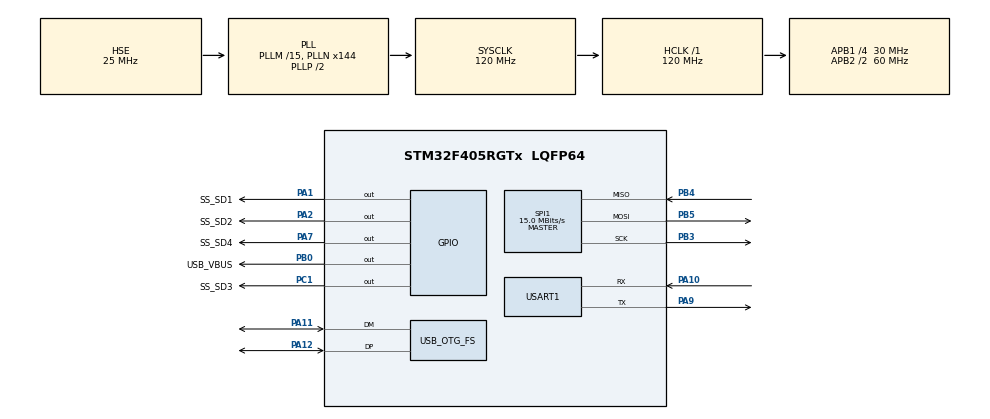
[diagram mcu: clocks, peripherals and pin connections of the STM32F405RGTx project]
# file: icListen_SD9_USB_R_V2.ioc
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Dma.Request0=SPI1_TX
Dma.SPI1_TX.0.Direction=DMA_MEMORY_TO_PERIPH
Dma.SPI1_TX.0.FIFOMode=DMA_FIFOMODE_DISABLE
Dma.SPI1_TX.0.Instance=DMA2_Stream3
Dma.SPI1_TX.0.MemDataAlignment=DMA_MDATAALIGN_BYTE
Dma.SPI1_TX.0.MemInc=DMA_MINC_ENABLE
Dma.SPI1_TX.0.Mode=DMA_NORMAL
Dma.SPI1_TX.0.PeriphDataAlignment=DMA_PDATAALIGN_BYTE
Dma.SPI1_TX.0.PeriphInc=DMA_PINC_DISABLE
Dma.SPI1_TX.0.Priority=DMA_PRIORITY_MEDIUM
FREERTOS.Queues01=AppliEvent,16,uint16_t,0,Dynamic,NULL,NULL;USB_rx,10,uint32_t,0,Dynamic,NULL,NULL;USB_tx,10,uint32_t,0,Dynamic,NULL,NULL;storage_w,5,uint32_t,0,Dynamic,NULL,NULL
FREERTOS.Tasks01=defaultTask,0,256,StartDefaultTask,Default,NULL,Dynamic,NULL,NULL;storage_t,0,512,storage_f,Default,NULL,Dynamic,NULL,NULL;icListen_t,0,512,icListen_f,Default,NULL,Dynamic,NULL,NULL;uart_t,0,256,uart_f,Default,NULL,Dynamic,NULL,NULL
FREERTOS.configTOTAL_HEAP_SIZE=24000
FREERTOS.configUSE_NEWLIB_REENTRANT=1
Mcu.Family=STM32F4
Mcu.Name=STM32F405RGTx
Mcu.Package=LQFP64
NVIC.DMA2_Stream3_IRQn=true\:5\:0\:false\:false\:true\:true\:false\:true\:true
NVIC.OTG_FS_IRQn=true\:5\:0\:false\:false\:true\:true\:true\:true\:true
NVIC.PriorityGroup=NVIC_PRIORITYGROUP_4
NVIC.SPI1_IRQn=true\:5\:0\:false\:false\:true\:true\:true\:true\:true
NVIC.TIM1_UP_TIM10_IRQn=true\:15\:0\:false\:false\:true\:false\:false\:true\:true
NVIC.TIM2_IRQn=true\:5\:0\:false\:false\:true\:true\:true\:true\:true
NVIC.TimeBase=TIM1_UP_TIM10_IRQn
NVIC.TimeBaseIP=TIM1
NVIC.USART1_IRQn=true\:5\:0\:false\:false\:true\:true\:true\:true\:true
PA1.GPIO_Label=SS_SD1
PA1.GPIO_PuPd=GPIO_PULLUP
PA1.GPIO_Speed=GPIO_SPEED_FREQ_HIGH
PA1.PinState=GPIO_PIN_SET
PA1.Signal=GPIO_Output
PA10.Mode=Asynchronous
PA10.Signal=USART1_RX
PA11.Mode=Host_Only
PA11.Signal=USB_OTG_FS_DM
PA12.Mode=Host_Only
PA12.Signal=USB_OTG_FS_DP
PA2.GPIO_Label=SS_SD2
PA2.GPIO_PuPd=GPIO_PULLUP
PA2.GPIO_Speed=GPIO_SPEED_FREQ_HIGH
PA2.PinState=GPIO_PIN_SET
PA2.Signal=GPIO_Output
PA7.GPIO_Label=SS_SD4
PA7.GPIO_PuPd=GPIO_PULLUP
PA7.GPIO_Speed=GPIO_SPEED_FREQ_HIGH
PA7.PinState=GPIO_PIN_SET
PA7.Signal=GPIO_Output
PA9.Mode=Asynchronous
PA9.Signal=USART1_TX
PB0.GPIO_Label=USB_VBUS
PB0.PinState=GPIO_PIN_SET
PB0.Signal=GPIO_Output
PB3.GPIO_PuPd=GPIO_PULLUP
PB3.Mode=Full_Duplex_Master
PB3.Signal=SPI1_SCK
PB4.GPIO_PuPd=GPIO_PULLUP
PB4.Mode=Full_Duplex_Master
PB4.Signal=SPI1_MISO
PB5.GPIO_PuPd=GPIO_PULLUP
PB5.Mode=Full_Duplex_Master
PB5.Signal=SPI1_MOSI
PC1.GPIO_Label=SS_SD3
PC1.GPIO_PuPd=GPIO_PULLUP
PC1.GPIO_Speed=GPIO_SPEED_FREQ_HIGH
PC1.PinState=GPIO_PIN_SET
PC1.Signal=GPIO_Output
PC14-OSC32_IN.Mode=LSE-External-Oscillator
PC14-OSC32_IN.Signal=RCC_OSC32_IN
PC15-OSC32_OUT.Mode=LSE-External-Oscillator
PC15-OSC32_OUT.Signal=RCC_OSC32_OUT
PH0-OSC_IN.Mode=HSE-External-Oscillator
PH0-OSC_IN.Signal=RCC_OSC_IN
PH1-OSC_OUT.Mode=HSE-External-Oscillator
PH1-OSC_OUT.Signal=RCC_OSC_OUT
ProjectManager.HeapSize=0x200
ProjectManager.StackSize=0x400
ProjectManager.TargetToolchain=STM32CubeIDE
RCC.48MHZClocksFreq_Value=48000000
RCC.AHBFreq_Value=120000000
RCC.APB1CLKDivider=RCC_HCLK_DIV4
RCC.APB1Freq_Value=30000000
RCC.APB1TimFreq_Value=60000000
RCC.APB2CLKDivider=RCC_HCLK_DIV2
RCC.APB2Freq_Value=60000000
RCC.APB2TimFreq_Value=120000000
RCC.CortexFreq_Value=120000000
RCC.HCLKFreq_Value=120000000
RCC.HSE_VALUE=25000000
RCC.HSI_VALUE=16000000
RCC.PLLM=15
RCC.PLLN=144
RCC.PLLQ=5
RCC.RCC_RTC_Clock_Source=RCC_RTCCLKSOURCE_LSE
RCC.SYSCLKFreq_VALUE=120000000
RCC.SYSCLKSource=RCC_SYSCLKSOURCE_PLLCLK
RCC.VCOOutputFreq_Value=240000000
RTC.Format=RTC_FORMAT_BIN
SPI1.BaudRatePrescaler=SPI_BAUDRATEPRESCALER_4
SPI1.CalculateBaudRate=15.0 MBits/s
SPI1.Direction=SPI_DIRECTION_2LINES
SPI1.Mode=SPI_MODE_MASTER
SPI1.VirtualType=VM_MASTER
USART1.VirtualMode=VM_ASYNC
USB_HOST.BSP.number=1
USB_HOST.USBH_HandleTypeDef-CDC_FS=hUsbHostFS
USB_HOST.USBH_PROCESS_PRIO-CDC_FS=osPriorityRealtime
USB_HOST.USBH_PROCESS_STACK_SIZE-CDC_FS=512
USB_HOST.VirtualModeFS=Cdc
USB_HOST0.BSP.STBoard=false
USB_HOST0.BSP.api=Unknown
USB_HOST0.BSP.i2caddr=0
USB_HOST0.BSP.instance=PB0
USB_HOST0.BSP.ip=GPIO
USB_HOST0.BSP.mode=Output
USB_HOST0.BSP.name=Drive_VBUS_FS
USB_HOST0.BSP.solution=PB0
USB_OTG_FS.VirtualMode=Host_Only
USB_OTG_FS.phy_itface=HCD_PHY_EMBEDDED
VP_FREERTOS_VS_CMSIS_V1.Mode=CMSIS_V1
VP_RTC_VS_RTC_Activate.Mode=RTC_Enabled
VP_RTC_VS_RTC_Calendar.Mode=RTC_Calendar
VP_SYS_VS_tim1.Mode=TIM1
VP_TIM2_VS_ClockSourceINT.Mode=Internal
VP_USB_HOST_VS_USB_HOST_CDC_FS.Mode=CDC_FS
board=custom

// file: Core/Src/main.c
/* USER CODE BEGIN Header */
/**
  ******************************************************************************
  * @file           : main.c
  * @brief          : Main program body
  ******************************************************************************
  * @attention
  *
  * <h2><center>&copy; Copyright (c) 2022 STMicroelectronics.
  * All rights reserved.</center></h2>
  *
  * This software component is licensed by ST under Ultimate Liberty license
  * SLA0044, the "License"; You may not use this file except in compliance with
  * the License. You may obtain a copy of the License at:
  *                             www.st.com/SLA0044
  *
  ******************************************************************************
  */
/* USER CODE END Header */
#include "main.h"
#include "cmsis_os.h"
#include "usb_host.h"

/* USER CODE BEGIN Includes */
#include "string.h"
#include "em_sd_storage.h"
#include "wav.h"
#include "icListen.h"
#include "mcu_flash.h"
#include "UI.h"
#include "rtc.h"

/* USER CODE END Includes */

/* USER CODE BEGIN PD */

#define  UI_UART               huart1

#define  SYSTEM_READY          10
#define  SYSTEM_STARTED        11
/* USER CODE END PD */

 RTC_HandleTypeDef hrtc;

SPI_HandleTypeDef hspi1;
DMA_HandleTypeDef hdma_spi1_tx;

TIM_HandleTypeDef htim2;

UART_HandleTypeDef huart1;

osThreadId defaultTaskHandle;
osThreadId storage_tHandle;
osThreadId icListen_tHandle;
osThreadId uart_tHandle;
osMessageQId AppliEventHandle;
osMessageQId USB_rxHandle;
osMessageQId USB_txHandle;
osMessageQId storage_wHandle;
/* USER CODE BEGIN PV */
extern uint8_t usb_rx_buff[USB_RX_BUFF_SIZE];
extern ApplicationTypeDef Appli_state;
extern USBH_HandleTypeDef hUsbHostFS;
CDC_HandleTypeDef *CDC_Handle;

extern rtc_typedef rtc;
extern icListen_object_typedef icListen;

memory_region_pointer          status_msg_ptr;
icListen_status_basic_msg          status_msg;

memory_region_pointer         collect_msg_ptr;
icListen_collect_short_mask_msg   collect_msg;

memory_region_pointer           setup_msg_ptr;
icListen_setup_full_msg             setup_msg;

UI_typedef user_interface;
mcu_flash_typedef mcu_flash;

sd_storage_t microsd_storage;
wav_file_typedef wav_file;

uint8_t system_status;
uint32_t file_bytes_left;
uint32_t disk_kbytes_left;

uint32_t tick1,tick2;
/* USER CODE END PV */

void SystemClock_Config(void);
static void MX_GPIO_Init(void);
static void MX_SPI1_Init(void);
static void MX_USART1_UART_Init(void);
static void MX_DMA_Init(void);
static void MX_TIM2_Init(void);
static void MX_RTC_Init(void);
void StartDefaultTask(void const * argument);
void storage_f(void const * argument);
void icListen_f(void const * argument);
void uart_f(void const * argument);

/* USER CODE BEGIN PFP */
void icListen_prepare_messages();

/* USER CODE END PFP */

int main(void)
{

  /* MCU Configuration--------------------------------------------------------*/

  /* Reset of all peripherals, Initializes the Flash interface and the Systick. */
  HAL_Init();

  /* Configure the system clock */
  SystemClock_Config();

  /* Initialize all configured peripherals */
  MX_GPIO_Init();
  MX_SPI1_Init();
  MX_USART1_UART_Init();
  MX_DMA_Init();
  MX_TIM2_Init();
  MX_RTC_Init();
  /* USER CODE BEGIN 2 */
  UI_init(&user_interface);
  HAL_UART_Receive_IT(&UI_UART,&(user_interface.media_rx_byte),1);
  mcu_flash_init(&mcu_flash,FLASH_SECTOR_11);

  system_status=SYSTEM_STARTED;

  /* USER CODE END 2 */

  /* Create the queue(s) */
  /* definition and creation of AppliEvent */
  osMessageQDef(AppliEvent, 16, uint16_t);
  AppliEventHandle = osMessageCreate(osMessageQ(AppliEvent), NULL);

  /* definition and creation of USB_rx */
  osMessageQDef(USB_rx, 10, uint32_t);
  USB_rxHandle = osMessageCreate(osMessageQ(USB_rx), NULL);

  /* definition and creation of USB_tx */
  osMessageQDef(USB_tx, 10, uint32_t);
  USB_txHandle = osMessageCreate(osMessageQ(USB_tx), NULL);

  /* definition and creation of storage_w */
  osMessageQDef(storage_w, 5, uint32_t);
  storage_wHandle = osMessageCreate(osMessageQ(storage_w), NULL);

  /* Create the thread(s) */
  /* definition and creation of defaultTask */
  osThreadDef(defaultTask, StartDefaultTask, osPriorityNormal, 0, 256);
  defaultTaskHandle = osThreadCreate(osThread(defaultTask), NULL);

  /* definition and creation of storage_t */
  osThreadDef(storage_t, storage_f, osPriorityNormal, 0, 512);
  storage_tHandle = osThreadCreate(osThread(storage_t), NULL);

  /* definition and creation of icListen_t */
  osThreadDef(icListen_t, icListen_f, osPriorityNormal, 0, 512);
  icListen_tHandle = osThreadCreate(osThread(icListen_t), NULL);

  /* definition and creation of uart_t */
  osThreadDef(uart_t, uart_f, osPriorityNormal, 0, 256);
  uart_tHandle = osThreadCreate(osThread(uart_t), NULL);

  /* Start scheduler */
  osKernelStart();

  /* We should never get here as control is now taken by the scheduler */
  /* Infinite loop */
  while (1)
  {

  }
}

void SystemClock_Config(void)
{
  RCC_OscInitTypeDef RCC_OscInitStruct = {0};
  RCC_ClkInitTypeDef RCC_ClkInitStruct = {0};

  /** Configure the main internal regulator output voltage
  */
  __HAL_RCC_PWR_CLK_ENABLE();
  __HAL_PWR_VOLTAGESCALING_CONFIG(PWR_REGULATOR_VOLTAGE_SCALE1);

  /** Initializes the RCC Oscillators according to the specified parameters
  * in the RCC_OscInitTypeDef structure.
  */
  RCC_OscInitStruct.OscillatorType = RCC_OSCILLATORTYPE_HSE|RCC_OSCILLATORTYPE_LSE;
  RCC_OscInitStruct.HSEState = RCC_HSE_ON;
  RCC_OscInitStruct.LSEState = RCC_LSE_ON;
  RCC_OscInitStruct.PLL.PLLState = RCC_PLL_ON;
  RCC_OscInitStruct.PLL.PLLSource = RCC_PLLSOURCE_HSE;
  RCC_OscInitStruct.PLL.PLLM = 15;
  RCC_OscInitStruct.PLL.PLLN = 144;
  RCC_OscInitStruct.PLL.PLLP = RCC_PLLP_DIV2;
  RCC_OscInitStruct.PLL.PLLQ = 5;
  if (HAL_RCC_OscConfig(&RCC_OscInitStruct) != HAL_OK)
  {
    Error_Handler();
  }

  /** Initializes the CPU, AHB and APB buses clocks
  */
  RCC_ClkInitStruct.ClockType = RCC_CLOCKTYPE_HCLK|RCC_CLOCKTYPE_SYSCLK
                              |RCC_CLOCKTYPE_PCLK1|RCC_CLOCKTYPE_PCLK2;
  RCC_ClkInitStruct.SYSCLKSource = RCC_SYSCLKSOURCE_PLLCLK;
  RCC_ClkInitStruct.AHBCLKDivider = RCC_SYSCLK_DIV1;
  RCC_ClkInitStruct.APB1CLKDivider = RCC_HCLK_DIV4;
  RCC_ClkInitStruct.APB2CLKDivider = RCC_HCLK_DIV2;

  if (HAL_RCC_ClockConfig(&RCC_ClkInitStruct, FLASH_LATENCY_3) != HAL_OK)
  {
    Error_Handler();
  }
}

static void MX_RTC_Init(void)
{

  RTC_TimeTypeDef sTime = {0};
  RTC_DateTypeDef sDate = {0};

  /** Initialize RTC Only
  */
  hrtc.Instance = RTC;
  hrtc.Init.HourFormat = RTC_HOURFORMAT_24;
  hrtc.Init.AsynchPrediv = 127;
  hrtc.Init.SynchPrediv = 255;
  hrtc.Init.OutPut = RTC_OUTPUT_DISABLE;
  hrtc.Init.OutPutPolarity = RTC_OUTPUT_POLARITY_HIGH;
  hrtc.Init.OutPutType = RTC_OUTPUT_TYPE_OPENDRAIN;
  if (HAL_RTC_Init(&hrtc) != HAL_OK)
  {
    Error_Handler();
  }

  /** Initialize RTC and set the Time and Date
  */
  sTime.Hours = 0;
  sTime.Minutes = 0;
  sTime.Seconds = 0;
  sTime.DayLightSaving = RTC_DAYLIGHTSAVING_NONE;
  sTime.StoreOperation = RTC_STOREOPERATION_RESET;
  if (HAL_RTC_SetTime(&hrtc, &sTime, RTC_FORMAT_BIN) != HAL_OK)
  {
    Error_Handler();
  }
  sDate.WeekDay = RTC_WEEKDAY_MONDAY;
  sDate.Month = RTC_MONTH_JANUARY;
  sDate.Date = 1;
  sDate.Year = 0;

  if (HAL_RTC_SetDate(&hrtc, &sDate, RTC_FORMAT_BIN) != HAL_OK)
  {
    Error_Handler();
  }

}

static void MX_SPI1_Init(void)
{

  /* SPI1 parameter configuration*/
  hspi1.Instance = SPI1;
  hspi1.Init.Mode = SPI_MODE_MASTER;
  hspi1.Init.Direction = SPI_DIRECTION_2LINES;
  hspi1.Init.DataSize = SPI_DATASIZE_8BIT;
  hspi1.Init.CLKPolarity = SPI_POLARITY_LOW;
  hspi1.Init.CLKPhase = SPI_PHASE_1EDGE;
  hspi1.Init.NSS = SPI_NSS_SOFT;
  hspi1.Init.BaudRatePrescaler = SPI_BAUDRATEPRESCALER_4;
  hspi1.Init.FirstBit = SPI_FIRSTBIT_MSB;
  hspi1.Init.TIMode = SPI_TIMODE_DISABLE;
  hspi1.Init.CRCCalculation = SPI_CRCCALCULATION_DISABLE;
  hspi1.Init.CRCPolynomial = 10;
  if (HAL_SPI_Init(&hspi1) != HAL_OK)
  {
    Error_Handler();
  }

}

static void MX_TIM2_Init(void)
{

  TIM_ClockConfigTypeDef sClockSourceConfig = {0};
  TIM_MasterConfigTypeDef sMasterConfig = {0};

  htim2.Instance = TIM2;
  htim2.Init.Prescaler = 0;
  htim2.Init.CounterMode = TIM_COUNTERMODE_UP;
  htim2.Init.Period = 4294967295;
  htim2.Init.ClockDivision = TIM_CLOCKDIVISION_DIV1;
  htim2.Init.AutoReloadPreload = TIM_AUTORELOAD_PRELOAD_DISABLE;
  if (HAL_TIM_Base_Init(&htim2) != HAL_OK)
  {
    Error_Handler();
  }
  sClockSourceConfig.ClockSource = TIM_CLOCKSOURCE_INTERNAL;
  if (HAL_TIM_ConfigClockSource(&htim2, &sClockSourceConfig) != HAL_OK)
  {
    Error_Handler();
  }
  sMasterConfig.MasterOutputTrigger = TIM_TRGO_RESET;
  sMasterConfig.MasterSlaveMode = TIM_MASTERSLAVEMODE_DISABLE;
  if (HAL_TIMEx_MasterConfigSynchronization(&htim2, &sMasterConfig) != HAL_OK)
  {
    Error_Handler();
  }

}

static void MX_USART1_UART_Init(void)
{

  huart1.Instance = USART1;
  huart1.Init.BaudRate = 115200;
  huart1.Init.WordLength = UART_WORDLENGTH_8B;
  huart1.Init.StopBits = UART_STOPBITS_1;
  huart1.Init.Parity = UART_PARITY_NONE;
  huart1.Init.Mode = UART_MODE_TX_RX;
  huart1.Init.HwFlowCtl = UART_HWCONTROL_NONE;
  huart1.Init.OverSampling = UART_OVERSAMPLING_16;
  if (HAL_UART_Init(&huart1) != HAL_OK)
  {
    Error_Handler();
  }

}

static void MX_DMA_Init(void)
{

  /* DMA controller clock enable */
  __HAL_RCC_DMA2_CLK_ENABLE();

  /* DMA interrupt init */
  /* DMA2_Stream3_IRQn interrupt configuration */
  HAL_NVIC_SetPriority(DMA2_Stream3_IRQn, 5, 0);
  HAL_NVIC_EnableIRQ(DMA2_Stream3_IRQn);

}

static void MX_GPIO_Init(void)
{
  GPIO_InitTypeDef GPIO_InitStruct = {0};

  /* GPIO Ports Clock Enable */
  __HAL_RCC_GPIOC_CLK_ENABLE();
  __HAL_RCC_GPIOH_CLK_ENABLE();
  __HAL_RCC_GPIOA_CLK_ENABLE();
  __HAL_RCC_GPIOB_CLK_ENABLE();

  /*Configure GPIO pin Output Level */
  HAL_GPIO_WritePin(SS_SD3_GPIO_Port, SS_SD3_Pin, GPIO_PIN_SET);

  /*Configure GPIO pin Output Level */
  HAL_GPIO_WritePin(GPIOA, SS_SD1_Pin|SS_SD2_Pin|SS_SD4_Pin, GPIO_PIN_SET);

  /*Configure GPIO pin Output Level */
  HAL_GPIO_WritePin(USB_VBUS_GPIO_Port, USB_VBUS_Pin, GPIO_PIN_SET);

  /*Configure GPIO pin : SS_SD3_Pin */
  GPIO_InitStruct.Pin = SS_SD3_Pin;
  GPIO_InitStruct.Mode = GPIO_MODE_OUTPUT_PP;
  GPIO_InitStruct.Pull = GPIO_PULLUP;
  GPIO_InitStruct.Speed = GPIO_SPEED_FREQ_HIGH;
  HAL_GPIO_Init(SS_SD3_GPIO_Port, &GPIO_InitStruct);

  /*Configure GPIO pins : SS_SD1_Pin SS_SD2_Pin SS_SD4_Pin */
  GPIO_InitStruct.Pin = SS_SD1_Pin|SS_SD2_Pin|SS_SD4_Pin;
  GPIO_InitStruct.Mode = GPIO_MODE_OUTPUT_PP;
  GPIO_InitStruct.Pull = GPIO_PULLUP;
  GPIO_InitStruct.Speed = GPIO_SPEED_FREQ_HIGH;
  HAL_GPIO_Init(GPIOA, &GPIO_InitStruct);

  /*Configure GPIO pin : USB_VBUS_Pin */
  GPIO_InitStruct.Pin = USB_VBUS_Pin;
  GPIO_InitStruct.Mode = GPIO_MODE_OUTPUT_PP;
  GPIO_InitStruct.Pull = GPIO_NOPULL;
  GPIO_InitStruct.Speed = GPIO_SPEED_FREQ_LOW;
  HAL_GPIO_Init(USB_VBUS_GPIO_Port, &GPIO_InitStruct);

}

/* USER CODE BEGIN 4 */

uint8_t tmp1;
uint8_t tmp2;

void HAL_UART_RxCpltCallback(UART_HandleTypeDef *huart)
{
 if(huart==&UI_UART && system_status==SYSTEM_READY)
 {
	 UI_media_process_byte(&user_interface,user_interface.media_rx_byte);
	 HAL_UART_Receive_IT(&UI_UART,&(user_interface.media_rx_byte),1);
 }
}

void HAL_UART_TxCpltCallback(UART_HandleTypeDef *huart)
{

 if(huart==&UI_UART)
 {
  if(UI_media_get_byte(&user_interface,&tmp2)==UI_F_OK)
  {
	    HAL_UART_Transmit_IT(&UI_UART,&tmp2,1);
  }
 }
}

void icListen_prepare_messages(icListen_object_typedef* self_object)
{
  collect_msg_ptr.start_addr=(uint8_t*)&collect_msg;
  collect_msg_ptr.size=sizeof(icListen_collect_short_mask_msg);

  status_msg_ptr.start_addr=(uint8_t*)&status_msg;
  status_msg_ptr.size=sizeof(icListen_enquire_device_msg);

  setup_msg_ptr.start_addr=(uint8_t*)&setup_msg;
  setup_msg_ptr.size=sizeof(icListen_setup_full_msg);

  icListen_prepare_collect_msg(&collect_msg,0x20);
  icListen_prepare_enquire_device_msg(&status_msg);
  icListen_prepare_setup_msg(&setup_msg,self_object->settings->wav_sample_rate,self_object->settings->wav_sample_bit_depth);
  //HAL_UART_Transmit(&huart1,(uint8_t*)&setup_msg,98,100);
}

F_RES open_new_wav_file()
{
	char file_name[30];
	file_bytes_left=((icListen.settings->wav_sample_bit_depth/8)*icListen.settings->wav_sample_rate*icListen.settings->file_duration)-44;
	read_time(&rtc);
	sprintf(file_name,"%d:%d_%02d%02d%02d_%02d%02d%02d.wav",microsd_storage.active_disk_indx,icListen.settings->file_index,rtc.time.Hours,rtc.time.Minutes,rtc.time.Seconds,rtc.date.Date,rtc.date.Month,rtc.date.Year);
	if(disk_kbytes_left>(file_bytes_left/1024)){
	 if(wav_file_open(&wav_file,file_name,icListen.settings->wav_sample_bit_depth,icListen.settings->wav_sample_rate,1)==F_OK){
		disk_kbytes_left-=(file_bytes_left/1024);
		icListen.settings->file_index++;
		mcu_flash_save(&mcu_flash);
		return F_OK;
	 }
	}
    return F_ERR;
}
/* USER CODE END 4 */

void StartDefaultTask(void const * argument)
{
  /* init code for USB_HOST */
  MX_USB_HOST_Init();
  /* USER CODE BEGIN 5 */
   osEvent event;

  if(mcu_flash_read(&mcu_flash)!=F_OK){
  		icListen.settings->wav_sample_rate=ICLISTEN_DEFAULT_WAV_SAMPLE_RATE;
  		icListen.settings->wav_sample_bit_depth=ICLISTEN_DEFAULT_WAV_SAMPLE_BIT_DEPTH;
  		icListen.settings->file_duration=ICLISTEN_DEFAULT_FILE_DURATION;
  		mcu_flash_save(&mcu_flash);
  }
  while(microsd_storage.status!=STORAGE_NOT_INITTIALIZED) {osDelay(1);}
  system_status=SYSTEM_READY;

  /* Infinite loop */
  for(;;)
  {
	  event = osMessageGet(AppliEventHandle, osWaitForever);

	  if(event.status == osEventMessage)
	  {
		switch(event.value.v)
		{
		 case APPLICATION_DISCONNECT:
			 icListen_init_sensor_status(&icListen);
		 break;

		 case APPLICATION_READY:
			 osDelay(5000);
			 icListen_init_sensor_status(&icListen);
			 icListen.status=ICLISTEN_CONNECTED;
			 osMessagePut(USB_txHandle,(uint32_t)&status_msg_ptr, 0);
			 osMessagePut(USB_txHandle,(uint32_t)&setup_msg_ptr, 0);
			 osMessagePut(USB_txHandle,(uint32_t)&collect_msg_ptr, 0);
		 break;

		 case APPLICATION_START:
		   USB_set_line_coding();
		 break;

		 default:
		 break;
		 }
	   }
  }

  /* USER CODE END 5 */
}

void storage_f(void const * argument)
{
  /* USER CODE BEGIN storage_f */
  osDelay(500);
  char info_msg[100];

  memory_region_pointer* data_ptr;
  osEvent storage_w_event;

  sprintf(info_msg,"Wait for storage init....");
  HAL_UART_Transmit(&huart1,info_msg,strlen(info_msg),100);

  sd_storage_link_ss(&microsd_storage,0,SS_SD1_Pin,GPIOA);
  sd_storage_link_ss(&microsd_storage,1,SS_SD2_Pin,GPIOA);
  sd_storage_link_ss(&microsd_storage,2,SS_SD3_Pin,SS_SD3_GPIO_Port);
  sd_storage_link_ss(&microsd_storage,3,SS_SD4_Pin,GPIOA);
  while(sd_storage_init(&microsd_storage)!=F_OK) osDelay(1000);

  sprintf(info_msg,"detected %d cards.\r",microsd_storage.num_of_discs);
  HAL_UART_Transmit(&huart1,info_msg,strlen(info_msg),100);

  disk_kbytes_left=microsd_storage.disks[microsd_storage.active_disk_indx].free_space;
  if(open_new_wav_file()!=F_OK){
  do{
     if(sd_storage_set_next_disk(&microsd_storage)!=F_OK){
    	sprintf(info_msg,"End of storage reached.\r");
  	    HAL_UART_Transmit(&huart1,info_msg,strlen(info_msg),100);
      	while(1){osDelay(1);}
     }
  	 disk_kbytes_left=microsd_storage.disks[microsd_storage.active_disk_indx].free_space;
   }while(open_new_wav_file()!=F_OK);
  }

  /* Infinite loop */
  for(;;)
  {

   storage_w_event = osMessageGet(storage_wHandle, osWaitForever);
   if(storage_w_event.status == osEventMessage){
	 data_ptr=(memory_region_pointer*)storage_w_event.value.v;

	 if(file_bytes_left>data_ptr->size){
	   if(wav_file_write(&wav_file,data_ptr->start_addr,data_ptr->size)==F_OK){
	      file_bytes_left-=data_ptr->size;
	   }
	   else{
	      wav_file_close(&wav_file);
	      sprintf(info_msg,"Write error.\r");
	      HAL_UART_Transmit(&huart1,info_msg,strlen(info_msg),100);
	      while(1){osDelay(1);}
	   }
	 }
	 else{
		wav_file_close(&wav_file);
		if(open_new_wav_file()!=F_OK){
		  do{
				if(sd_storage_set_next_disk(&microsd_storage)!=F_OK){
	        		sprintf(info_msg,"End of storage reached.\r");
		        	HAL_UART_Transmit(&huart1,info_msg,strlen(info_msg),100);
		        	while(1){osDelay(1);}
				}
				disk_kbytes_left=microsd_storage.disks[microsd_storage.active_disk_indx].free_space;
		   }while(open_new_wav_file()!=F_OK);
	   	 }
		 if(wav_file_write(&wav_file,data_ptr->start_addr,data_ptr->size)==F_OK){
			 file_bytes_left-=data_ptr->size;

	     }
		 else{
			 wav_file_close(&wav_file);
		     sprintf(info_msg,"Write error.\r");
		     HAL_UART_Transmit(&huart1,info_msg,strlen(info_msg),100);
		     while(1){osDelay(1);}
		 }
	  }
	}
   }
  /* USER CODE END storage_f */
}

void icListen_f(void const * argument)
{
  /* USER CODE BEGIN icListen_f */
  /* Infinite loop */
  uint8_t msg_type;
  memory_region_pointer* usb_tx_msg_ptr;
  memory_region_pointer  parsed_data_ptr[10];
  uint8_t                parsed_data_ptr_index=0;
  osEvent event;

  while(system_status!=SYSTEM_READY) {osDelay(1);}
  icListen_init_sensor_status(&icListen);
  icListen.settings=(icListen_settings_typedef*)mcu_flash.data.raw_data;
  icListen_prepare_messages(&icListen);
  icListen.delay_time=((3000*1000)/((icListen.settings->wav_sample_bit_depth/8)*icListen.settings->wav_sample_rate))/3;

  /* Infinite loop */
  for(;;)
  {
	   event = osMessageGet(USB_txHandle, osWaitForever);
	   if(icListen.status==ICLISTEN_CONNECTED){
		if(event.status == osEventMessage){
		   usb_tx_msg_ptr=(memory_region_pointer*)event.value.v;
		   USB_transmit_msg(usb_tx_msg_ptr->start_addr,usb_tx_msg_ptr->size);
		}

		event = osMessageGet(USB_rxHandle, 20);
		if(event.status == osEventMessage){

		   if(icListen_parse_msg((uint8_t*)event.value.v,&icListen,&msg_type,&parsed_data_ptr[parsed_data_ptr_index])==F_OK)
		   {
			   if(msg_type==MSG_TYPE_COLLECT_DATA){
			     if(parsed_data_ptr[parsed_data_ptr_index].size>7){
				  osMessagePut(storage_wHandle,(uint32_t)&parsed_data_ptr[parsed_data_ptr_index],0);
				  parsed_data_ptr_index++;
				  parsed_data_ptr_index%=10;
			     }
			     if(icListen.delay_time>0) osDelay(icListen.delay_time);
				 osMessagePut(USB_txHandle,(uint32_t)&collect_msg_ptr, 0);
			   }
		   }
		}
	   }
  }
  /* USER CODE END icListen_f */
}

void uart_f(void const * argument)
{
  /* USER CODE BEGIN uart_f */
  uint8_t tmp;
  while(system_status!=SYSTEM_READY) {osDelay(1);}
  user_interface.media_status=UI_MEDIA_READY;
  /* Infinite loop */

  for(;;)
  {
   if(UI_UART.gState!=HAL_UART_STATE_BUSY_TX)
   {
 	if(UI_media_get_byte(&user_interface,&tmp)==UI_F_OK) HAL_UART_Transmit_IT(&UI_UART,&tmp,1);
   }
   osDelay(1);
  }
  /* USER CODE END uart_f */
}

void HAL_TIM_PeriodElapsedCallback(TIM_HandleTypeDef *htim)
{
  if (htim->Instance == TIM1) {
    HAL_IncTick();
  }
}

void Error_Handler(void)
{
  __disable_irq();
  while (1)
  {
  }
}
